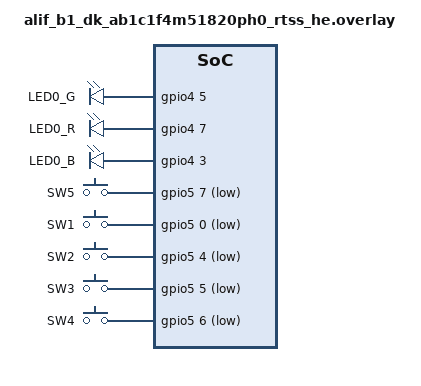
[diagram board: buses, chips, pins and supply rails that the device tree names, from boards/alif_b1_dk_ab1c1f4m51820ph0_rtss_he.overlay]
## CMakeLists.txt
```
# Copyright (C) Alif Semiconductor - All Rights Reserved.
# Use, distribution and modification of this code is permitted under the
# terms stated in the Alif Semiconductor Software License Agreement
#
# You should have received a copy of the Alif Semiconductor Software
# License Agreement with this file. If not, please write to:
# contact@alifsemi.com, or visit: https://alifsemi.com/license

cmake_minimum_required(VERSION 3.20.0)
find_package(Zephyr REQUIRED HINTS $ENV{ZEPHYR_BASE})
project(le_periph_vcp)

target_sources(app PRIVATE
    src/main.c
)
```

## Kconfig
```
# Copyright (C) 2026 Alif Semiconductor - All Rights Reserved.
# Use, distribution and modification of this code is permitted under the
# terms stated in the Alif Semiconductor Software License Agreement
#
# You should have received a copy of the Alif Semiconductor Software
# License Agreement with this file. If not, please write to:
# contact@alifsemi.com, or visit: https://alifsemi.com/license

source "Kconfig.zephyr"

config IUT_TESTER_ENABLED
	bool "IUT interface for PPTS testing"
	default n
	help
	  IUT configure interface for init setup.

config VOLUME_STEP_SIZE
	int "Data string size"
	range 1 32
	default 1 if IUT_TESTER_ENABLE
	default 6
	help
	  Defines step size for volume update event.

menu "Logging"

module = MAIN
module-str = main
source "subsys/logging/Kconfig.template.log_config"

endmenu # "Logging"
```

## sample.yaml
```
sample:
  name: LE Periph VCP
tests:
  sample.bt_custom.le_periph_vcp:
    build_only: true
    filter: dt_alias_exists("ledgreen")
    tags:
      - bluetooth
      - bt_custom
      - le_audio
```

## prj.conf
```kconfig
CONFIG_BT=y
CONFIG_BT_CUSTOM=y
CONFIG_LOG=y
CONFIG_ASSERT=y
CONFIG_GPIO=y

# Enable the Settings subsystem
CONFIG_SETTINGS=y

# Enable NVS as the backend for Settings
CONFIG_SETTINGS_NVS=y

# Enable flash support
CONFIG_FLASH=y
CONFIG_FLASH_MAP=y

# Enable NVS
CONFIG_NVS=y

# Optional: Enable runtime API for Settings (may be required for some functions)
CONFIG_SETTINGS_RUNTIME=y

CONFIG_MPU_ALLOW_FLASH_WRITE=y

# Needed for Zephyr randomizer
CONFIG_ENTROPY_GENERATOR=y
CONFIG_TEST_RANDOM_GENERATOR=y

# Bluetooth Low Energy device name
CONFIG_BLE_DEVICE_NAME="ALIF_VCP"
```

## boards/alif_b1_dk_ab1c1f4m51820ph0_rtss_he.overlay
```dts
/* Copyright (C) Alif Semiconductor - All Rights Reserved.
 * Use, distribution and modification of this code is permitted under the
 * terms stated in the Alif Semiconductor Software License Agreement
 *
 * You should have received a copy of the Alif Semiconductor Software
 * License Agreement with this file. If not, please write to:
 * contact@alifsemi.com, or visit: https://alifsemi.com/license
 */



&{/} {
	aliases {
		ledgreen = &aled0;
		ledred = &aled1;
		ledblue = &aled2;
		sw0 = &button0;
		sw1 = &button1;
		sw2 = &button2;
		sw3 = &button3;
		sw4 = &button4;
	};
	leds {
		compatible = "gpio-leds";
		aled0: led_0 {
			gpios = <&gpio4 5 0>;
			label = "LED0_G";
		};

		aled1: led_1 {
			gpios = <&gpio4 7 0>;
			label = "LED0_R";
		};

		aled2: led_2 {
			gpios = <&gpio4 3 0>;
			label = "LED0_B";
		};
	};

	buttons {
		compatible = "gpio-keys";
		button0: button_0 {
			gpios = < &gpio5 7 GPIO_ACTIVE_LOW >;
			label = "SW5";
		};
		button1: button_1 {
			gpios = < &gpio5 0 GPIO_ACTIVE_LOW >;
			label = "SW1";
		};
		button2: button_2 {
			gpios = < &gpio5 4 GPIO_ACTIVE_LOW >;
			label = "SW2";
		};
		button3: button_3 {
			gpios = < &gpio5 5 GPIO_ACTIVE_LOW >;
			label = "SW3";
		};
		button4: button_4 {
			gpios = < &gpio5 6 GPIO_ACTIVE_LOW >;
			label = "SW4";
		};
	};
};

/* for "buttons" node gpio5_7, enable software pull-up */
&pinctrl_gpio5 {
	group0 {
		pinmux = < PIN_P5_0__GPIO >,
			 < PIN_P5_1__GPIO >,
			 < PIN_P5_2__GPIO >,
			 < PIN_P5_3__GPIO >,
			 < PIN_P5_4__GPIO >,
			 < PIN_P5_5__GPIO >,
			 < PIN_P5_6__GPIO >,
			 < PIN_P5_7__GPIO >;
		read-enable = < 0x1 >;
	};

	group1 {
		pinmux = < PIN_P5_0__GPIO >,
			 < PIN_P5_4__GPIO >,
			 < PIN_P5_5__GPIO >,
			 < PIN_P5_6__GPIO >,
			 < PIN_P5_7__GPIO >;
		driver-state-control = <1>;
	};
};
```

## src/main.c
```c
/* Copyright (C) Alif Semiconductor - All Rights Reserved.
 * Use, distribution and modification of this code is permitted under the
 * terms stated in the Alif Semiconductor Software License Agreement
 *
 * You should have received a copy of the Alif Semiconductor Software
 * License Agreement with this file. If not, please write to:
 * contact@alifsemi.com, or visit: https://alifsemi.com/license
 */

#include <zephyr/kernel.h>
#include <zephyr/logging/log.h>
#include <string.h>
#include "alif_ble.h"
#include "gapm.h"
#include "gap_le.h"
#include "gapc_le.h"
#include "gapc_sec.h"
#include "gapm_le.h"
#include "gapm_le_adv.h"
#include "co_buf.h"
#include "prf.h"
#include "gatt_db.h"
#include "gatt_srv.h"
#include "ke_mem.h"
#include <zephyr/drivers/gpio.h>
#include "gapm_api.h"
#include "ble_gpio.h"
#include "address_verification.h"
#include "arc_vcs.h"
#include "arc_vocs.h"
#include "arc_aics.h"
#include "l2cap_coc.h"
#include "ble_storage.h"

#define BUTTON_PRESSED 1  /* SW5 */
#define BUTTON_UP      16 /* SW1 */
#define BUTTON_RIGHT   8  /* SW2 */
#define BUTTON_LEFT    4  /* SW3 */
#define BUTTON_DOWN    2  /* SW4 */

/* Bluetooth stack configuration*/
static gapm_config_t gapm_cfg = {
	.role = GAP_ROLE_LE_PERIPHERAL,
	.pairing_mode = GAPM_PAIRING_SEC_CON,
	.privacy_cfg = GAPM_PRIV_CFG_PRIV_ADDR_BIT,
	.renew_dur = 1500,
	.private_identity.addr = {0},
	.irk.key = {0xA1, 0xB2, 0xC3, 0xD4, 0xE5, 0xF6, 0x07, 0x08, 0x11, 0x22, 0x33, 0x44, 0x55,
		    0x66, 0x77, 0x88},
	.gap_start_hdl = 0,
	.gatt_start_hdl = 0,
	.att_cfg = 0,
	.sugg_max_tx_octets = GAP_LE_MIN_OCTETS,
	.sugg_max_tx_time = GAP_LE_MIN_TIME,
	.tx_pref_phy = GAP_PHY_ANY,
	.rx_pref_phy = GAP_PHY_ANY,
	.tx_path_comp = 0,
	.rx_path_comp = 0,
	.class_of_device = 0,  /* BT Classic only */
	.dflt_link_policy = 0, /* BT Classic only */
};

struct service_env {
	uint8_t mute;
	uint8_t volume;
	uint16_t ntf_cfg;
	uint8_t vocs_lid;
};

#define VOCS_MAX_DESC_LEN 20
#define VOCS_CFG_BF 0
#define DEFAULT_VCS_FLAGS 0

static uint8_t conn_status = BT_CONN_STATE_DISCONNECTED;

/* Load name from configuration file */
#define DEVICE_NAME      CONFIG_BLE_DEVICE_NAME

static struct connection_status app_con_info = {
	.conidx = GAP_INVALID_CONIDX,
	.addr.addr_type = 0xff,
};

static struct service_env env = {
	.volume = 10,
	.mute = 0,
	.ntf_cfg = 0,
	.vocs_lid = 0,
};
static arc_vcs_cb_t vcs_cb;
static arc_vocs_cb_t vocs_cb;
static arc_aics_cb_t aics_cb;

#define AICS_CFG_BF ARC_AICS_CFG_DESC_NTF_POS
#define AICS_DESC_MAX_LEN 20

static void led_worker_handler(struct k_work *work);

static K_WORK_DELAYABLE_DEFINE(ledWork, led_worker_handler);

static const struct gpio_dt_spec activeLed = GPIO_DT_SPEC_GET(DT_ALIAS(ledgreen), gpios);
static const struct gpio_dt_spec muteLed = GPIO_DT_SPEC_GET(DT_ALIAS(ledred), gpios);
static const struct gpio_dt_spec bleLed = GPIO_DT_SPEC_GET(DT_ALIAS(ledblue), gpios);

/* Macros */
LOG_MODULE_REGISTER(main, LOG_LEVEL_DBG);

/* function headers */
static uint16_t service_init(void);

/* Functions */
#if defined(CONFIG_IUT_TESTER_ENABLED)
K_SEM_DEFINE(test_sem, 0, 1);
static int TEST_case_num = 1;

static void test_case_configure_set(void)
{
	switch (TEST_case_num) {
	case 1:
		env.volume = (CONFIG_VOLUME_STEP_SIZE * 2);
		env.mute = 0;
		break;
	case 2:
		env.volume = 255 - (CONFIG_VOLUME_STEP_SIZE * 2);
		env.mute = 0;
		break;
	case 3:
		env.volume = (CONFIG_VOLUME_STEP_SIZE * 2);
		env.mute = 1;
		break;
	case 4:
		env.volume = 255 - (CONFIG_VOLUME_STEP_SIZE * 2);
		env.mute = 1;
		break;
	case 5:
		env.volume = 255 - (CONFIG_VOLUME_STEP_SIZE * 2);
		env.mute = 1;
		break;
	case 6:
		env.volume = 255 - (CONFIG_VOLUME_STEP_SIZE * 2);
		env.mute = 1;
		break;
	case 7:
		env.volume = 253;
		env.mute = 1;
		break;
	default:
		env.volume = 0;
		env.mute = 0;
		break;
	}
}

static void test_case_print(void)
{
	LOG_INF("Test case VCS/SR/CP/BV-%d: Step size %u, Volume %u, Mute %u", TEST_case_num,
		CONFIG_VOLUME_STEP_SIZE, env.volume, env.mute);
}

static void test_case_default_set(void)
{
	TEST_case_num = 1;
	test_case_configure_set();
	test_case_print();
	LOG_INF("Update IUT test values by BUTTON_UP  and select by BUTTON_PRESSED");
	k_sem_take(&test_sem, K_FOREVER);
}

static void test_case_toggle(void)
{
	if (TEST_case_num < 7) {
		TEST_case_num++;
	} else {
		TEST_case_num = 1;
	}
	test_case_configure_set();
	test_case_print();
	LOG_INF("Update IUT test values by BUTTON_UP  and select by BUTTON_PRESSED");
}

static void test_setup_activate(void)
{
	LOG_INF("Take a current setup");
	k_sem_give(&test_sem);
}
#endif

static void UpdateMuteLedstate(void)
{
	k_work_reschedule(&ledWork, K_MSEC(1));
}

static uint16_t create_advertising(void)
{
	uint16_t err;

	err = bt_gaf_create_adv(DEVICE_NAME, strlen(DEVICE_NAME), &app_con_info.addr);
	if (err != GAF_ERR_NO_ERROR) {
		LOG_ERR("Unable to configure GAF advertiser! Error %u (0x%02X)", err, err);
		return err;
	}
	LOG_DBG("GAF advertiser is configured");

	return err;
}

static void server_configure(void)
{
	uint16_t err;

	err = service_init();

	if (err) {
		LOG_ERR("Error %u adding profile", err);
	}
}

static void vcs_cb_bond_data(uint8_t con_lid, uint8_t cli_cfg_bf)
{
	LOG_DBG("VCS Bond data updated, con_lid: %u, cfg: %u", con_lid, cli_cfg_bf);
	env.ntf_cfg = cli_cfg_bf;
}

static void vcs_cb_volume(uint8_t volume, uint8_t mute, bool local)
{
	(void)local;
	env.volume = volume;
	LOG_INF("Updated volume Level %u", env.volume);
	if (env.mute != mute) {
		env.mute = mute;
		LOG_INF("Updated Mute state: %u", mute);
		UpdateMuteLedstate();
	}

}

static void vcs_cb_flags(uint8_t flags)
{
	LOG_INF("Volume flags %u", flags);
}

static void vocs_cb_offset(uint8_t output_lid, int16_t offset)
{
	LOG_DBG("VOCS offset updated, output_lid: %u, offset: %d", output_lid, offset);
}

static void vocs_cb_bond_data(uint8_t output_lid, uint8_t con_lid, uint8_t cli_cfg_bf)
{
	LOG_DBG("VOCS Bond data updated, output_lid: %u, con_lid: %u, cfg: %u", output_lid, con_lid,
		cli_cfg_bf);
}

static void vocs_cb_description_req(uint8_t output_lid, uint8_t con_lid, uint8_t desc_len,
			     const char *p_desc)
{
	LOG_DBG("VOCS description req, output_lid: %u, con_lid: %u, desc_len: %u, desc: %s",
		output_lid, con_lid, desc_len, p_desc);
}

static void vocs_cb_location_req(uint8_t output_lid, uint8_t con_lid, uint32_t location_bf)
{
	LOG_DBG("VOCS location req, output_lid: %u, con_lid: %u, location_bf: %" PRIu32, output_lid,
		con_lid, location_bf);
}

static void aics_cb_bond_data(uint8_t input_lid, uint8_t con_lid, uint8_t cli_cfg_bf)
{
	LOG_DBG("AICS Bond data updated, input_lid: %u, con_lid: %u, cfg: %u", input_lid, con_lid,
		cli_cfg_bf);
}

static void aics_cb_state(uint8_t input_lid, arc_aic_state_t *p_state)
{
	LOG_DBG("AICS state updated, input_lid: %u, gain: %u, mute: %u, gain_mode: %u", input_lid,
		p_state->gain, p_state->mute, p_state->gain_mode);
}

static void aics_cb_description_req(uint8_t input_lid, uint8_t con_lid, uint8_t desc_len,
			     const char *p_desc)
{
	LOG_DBG("AICS description req, input_lid: %u, con_lid: %u, desc_len: %u, desc: %s",
		input_lid, con_lid, desc_len, p_desc);
}

/*
 * Service functions
 */
static uint16_t service_init(void)
{
	uint16_t status;

	/* First configure VOCS */
	vocs_cb.cb_bond_data = vocs_cb_bond_data;
	vocs_cb.cb_offset = vocs_cb_offset;
	vocs_cb.cb_description_req = vocs_cb_description_req;
	vocs_cb.cb_location_req = vocs_cb_location_req;

	status = arc_vocs_configure(&vocs_cb, 1, L2CAP_COC_MTU_MIN);
	if (status != GAP_ERR_NO_ERROR) {
		LOG_ERR("VOCS configure problem %u", status);
	}

	status = arc_vocs_add(VOCS_MAX_DESC_LEN, VOCS_CFG_BF, GATT_INVALID_HDL, &env.vocs_lid);
	if (status != GAP_ERR_NO_ERROR) {
		LOG_ERR("VOCS add problem %u", status);
	}

	/* then Configure AICS */
	aics_cb.cb_bond_data = aics_cb_bond_data;
	aics_cb.cb_state = aics_cb_state;
	aics_cb.cb_description_req = aics_cb_description_req;

	status = arc_aics_configure(&aics_cb, 1, L2CAP_COC_MTU_MIN);
	if (status != GAP_ERR_NO_ERROR) {
		LOG_ERR("AICS configure problem %u", status);
	}

	arc_aic_gain_prop_t props = {
		.gain_units = 5, /* 1/10 dB */
		.gain_min = -30,
		.gain_max = 10
	};

	uint8_t input_lid;

	status = arc_aics_add(&props, ARC_AIC_INPUT_TYPE_MICROPHONE, AICS_DESC_MAX_LEN, AICS_CFG_BF,
			      GATT_INVALID_HDL, &input_lid);
	if (status != GAP_ERR_NO_ERROR) {
		LOG_ERR("AICS add problem %u", status);
		return status;
	}

	/* Lastly Configure VCS */
	vcs_cb.cb_bond_data = vcs_cb_bond_data;
	vcs_cb.cb_volume = vcs_cb_volume;
	vcs_cb.cb_flags = vcs_cb_flags;

	uint8_t input_lids[1];

	input_lids[0] = input_lid;

	status = arc_vcs_configure(&vcs_cb, CONFIG_VOLUME_STEP_SIZE, DEFAULT_VCS_FLAGS, env.volume,
				   env.mute, GATT_INVALID_HDL, ARC_VCS_CFG_FLAGS_NTF_BIT, 1,
				   input_lids);

	if (status != GAP_ERR_NO_ERROR) {
		LOG_ERR("VCS configure problem %u", status);
	}

	return status;
}

static void button_update_handler(uint32_t button_state, uint32_t has_changed)
{
#if defined(CONFIG_IUT_TESTER_ENABLED)
	if (has_changed & BUTTON_PRESSED) {
		/* Press Button Update toggle led when state goes to 0 */
		if (!(button_state & BUTTON_PRESSED)) {
			test_setup_activate();
		}
	}

	if (has_changed & BUTTON_UP) {
		if (!(button_state & BUTTON_UP)) {
			test_case_toggle();
		}
	}
#else
	if (has_changed & BUTTON_PRESSED) {
		/* Press Button Update toggle led when state goes to 0 */
		if (!(button_state & BUTTON_PRESSED)) {
			if (env.mute == 0) {
				LOG_INF("Mute vcs");
				arc_vcs_mute();
			} else {
				LOG_INF("UnMute vcs");
				arc_vcs_unmute();
			}

			UpdateMuteLedstate();
		}
	}

	if (has_changed & BUTTON_UP) {
		if (!(button_state & BUTTON_UP)) {
			LOG_INF("Volume UP");
			arc_vcs_volume_increase();
		}
	}

	if (has_changed & BUTTON_DOWN) {
		if (!(button_state & BUTTON_DOWN)) {
			LOG_INF("Volume Down");
			arc_vcs_volume_decrease();
		}
	}
#endif
}

static void led_worker_handler(struct k_work *work)
{
	(void)work;
	int res_schedule_time = 0;

	if (conn_status == BT_CONN_STATE_CONNECTED) {
		ble_gpio_led_set(&bleLed, false);
	} else {
		ble_gpio_led_toggle(&bleLed);
		res_schedule_time = 500;
	}

	if (env.mute) {
		res_schedule_time = 500;
		ble_gpio_led_set(&activeLed, false);
		ble_gpio_led_toggle(&muteLed);
	} else {
		ble_gpio_led_set(&activeLed, true);
		ble_gpio_led_set(&muteLed, false);
	}

	if (res_schedule_time) {
		k_work_reschedule(&ledWork, K_MSEC(res_schedule_time));
	}
}

void app_connection_status_update(enum gapm_connection_event con_event, uint8_t con_idx,
				  uint16_t status)
{
	switch (con_event) {
	case GAPM_API_SEC_CONNECTED_KNOWN_DEVICE:
		conn_status = BT_CONN_STATE_CONNECTED;
		LOG_INF("Connection index %u connected to known device", con_idx);
		break;
	case GAPM_API_DEV_CONNECTED:
		conn_status = BT_CONN_STATE_CONNECTED;
		LOG_INF("Connection index %u connected to new device", con_idx);
		break;
	case GAPM_API_DEV_DISCONNECTED:
		LOG_INF("Connection index %u disconnected for reason %u", con_idx, status);
		conn_status = BT_CONN_STATE_DISCONNECTED;
		break;
	case GAPM_API_PAIRING_FAIL:
		LOG_INF("Connection pairing index %u fail for reason %u", con_idx, status);
		break;
	}

	UpdateMuteLedstate();
}

static gapm_user_cb_t gapm_user_cb = {
	.connection_status_update = app_connection_status_update,
};

int main(void)
{
	uint16_t err;

	err = ble_gpio_buttons_init(button_update_handler);
	if (err) {
		LOG_ERR("Button Init fail %u", err);
		return -1;
	}

	err = ble_gpio_led_init();

	if (err) {
		LOG_ERR("Led Init fail %u", err);
		return -1;
	}

	ble_storage_init();

#if defined(CONFIG_IUT_TESTER_ENABLED)
	test_case_default_set();
#endif

	/* Start up bluetooth host stack */
	alif_ble_enable(NULL);

	/* Define Private identity */
	bt_generate_private_identity(&gapm_cfg);

	/* Configure Bluetooth Stack */
	LOG_INF("Init gapm service");
	err = bt_gapm_init(&gapm_cfg, &gapm_user_cb, DEVICE_NAME, strlen(DEVICE_NAME));
	if (err) {
		LOG_ERR("gapm_configure error %u", err);
		return -1;
	}

	server_configure();

	err = create_advertising();
	if (err) {
		LOG_ERR("Advertisement create fail %u", err);
		return -1;
	}

	/* Start a Generic audio advertisement */
	err = bt_gaf_adv_start(&app_con_info.addr);
	if (err) {
		LOG_ERR("Advertisement start fail %u", err);
		return -1;
	}

	print_device_identity();
	/* Set a Led init state */
	k_work_reschedule(&ledWork, K_MSEC(1));
	return 0;
}
```
